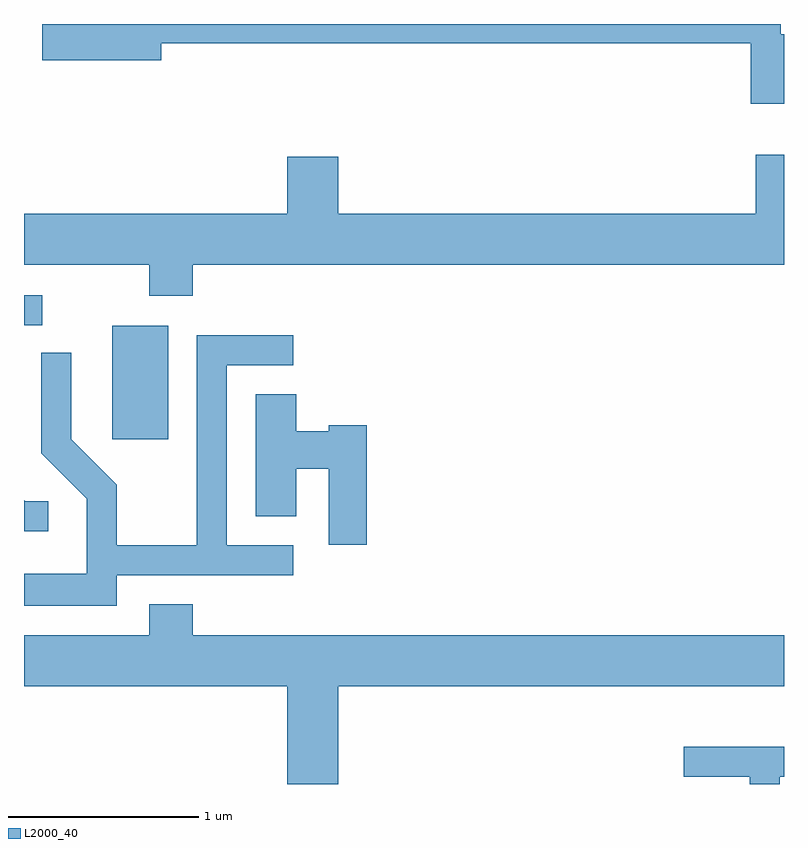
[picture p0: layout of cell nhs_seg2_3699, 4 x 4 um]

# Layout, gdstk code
import gdstk
lib = gdstk.Library(unit=1e-6, precision=1e-09)
def R(c, l, rs):  # rectangles x0, y0, x1, y1
    for r in rs: c.add(gdstk.rectangle(r[:2], r[2:], *l))
def P(c, l, *ps):  # polygons
    for p in ps: c.add(gdstk.Polygon(p, *l))
L2000_40 = (2000, 40)

nhs_seg2_3699 = lib.new_cell('nhs_seg2_3699')
R(nhs_seg2_3699, L2000_40, [(294.076,1049.616,294.369,1050.214), (293.611,1050.216,293.708,1050.374)])
P(nhs_seg2_3699, L2000_40, [(297.611,1051.749),(297.594,1051.749),(297.594,1051.802),(293.706,1051.802),(293.706,1051.611),(294.334,1051.611),(294.334,1051.701),(297.436,1051.701),(297.436,1051.381),(297.611,1051.381)],
  [(294.499,1050.536),(297.611,1050.536),(297.611,1051.114),(297.461,1051.114),(297.461,1050.804),(295.264,1050.804),(295.264,1051.104),(294.996,1051.104),(294.996,1050.804),(293.611,1050.804),(293.611,1050.536),(294.271,1050.536),(294.271,1050.371),(294.499,1050.371)],
  [(294.099,1048.901),(295.028,1048.901),(295.028,1049.059),(294.679,1049.059),(294.679,1050.006),(295.028,1050.006),(295.028,1050.164),(294.521,1050.164),(294.521,1049.059),(294.099,1049.059),(294.099,1049.377),(293.859,1049.617),(293.859,1050.073),(293.701,1050.073),(293.701,1049.544),(293.941,1049.304),(293.941,1048.909),(293.611,1048.909),(293.611,1048.741),(294.099,1048.741)],
  [(295.414,1049.689),(295.216,1049.689),(295.216,1049.659),(295.044,1049.659),(295.044,1049.854),(294.831,1049.854),(294.831,1049.211),(295.044,1049.211),(295.044,1049.461),(295.216,1049.461),(295.216,1049.061),(295.414,1049.061)],
  [(293.738,1049.289),(293.617,1049.289),(293.611,1049.295),(293.611,1049.131),(293.738,1049.131)],
  [(295.264,1048.316),(297.611,1048.316),(297.611,1048.584),(294.499,1048.584),(294.499,1048.749),(294.271,1048.749),(294.271,1048.584),(293.611,1048.584),(293.611,1048.316),(294.996,1048.316),(294.996,1047.802),(295.264,1047.802)],
  [(297.589,1047.841),(297.611,1047.841),(297.611,1047.999),(297.083,1047.999),(297.083,1047.841),(297.431,1047.841),(297.431,1047.802),(297.589,1047.802)])

lib.write_gds('nhs_seg2_3699.gds')
